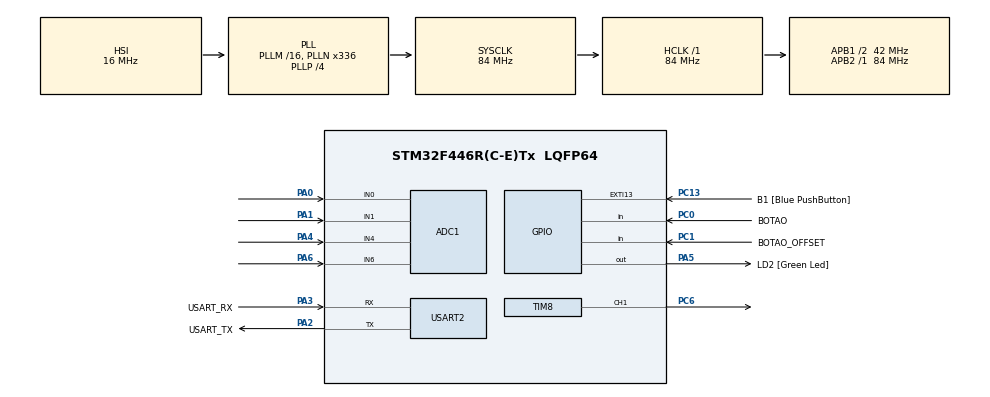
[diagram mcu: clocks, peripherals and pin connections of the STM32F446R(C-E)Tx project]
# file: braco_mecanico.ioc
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ADC1.Channel-0\#ChannelRegularConversion=ADC_CHANNEL_0
ADC1.Channel-1\#ChannelRegularConversion=ADC_CHANNEL_1
ADC1.Channel-2\#ChannelRegularConversion=ADC_CHANNEL_4
ADC1.Channel-3\#ChannelRegularConversion=ADC_CHANNEL_6
ADC1.ExternalTrigConv=ADC_EXTERNALTRIGCONV_T8_TRGO
ADC1.NbrOfConversion=4
ADC1.NbrOfConversionFlag=1
ADC1.Rank-0\#ChannelRegularConversion=1
ADC1.Rank-1\#ChannelRegularConversion=2
ADC1.Rank-2\#ChannelRegularConversion=3
ADC1.Rank-3\#ChannelRegularConversion=4
ADC1.SamplingTime-0\#ChannelRegularConversion=ADC_SAMPLETIME_15CYCLES
ADC1.SamplingTime-1\#ChannelRegularConversion=ADC_SAMPLETIME_15CYCLES
ADC1.SamplingTime-2\#ChannelRegularConversion=ADC_SAMPLETIME_15CYCLES
ADC1.SamplingTime-3\#ChannelRegularConversion=ADC_SAMPLETIME_15CYCLES
ADC1.master=1
Dma.ADC1.0.Direction=DMA_PERIPH_TO_MEMORY
Dma.ADC1.0.FIFOMode=DMA_FIFOMODE_DISABLE
Dma.ADC1.0.Instance=DMA2_Stream0
Dma.ADC1.0.MemDataAlignment=DMA_MDATAALIGN_HALFWORD
Dma.ADC1.0.MemInc=DMA_MINC_ENABLE
Dma.ADC1.0.Mode=DMA_NORMAL
Dma.ADC1.0.PeriphDataAlignment=DMA_PDATAALIGN_HALFWORD
Dma.ADC1.0.PeriphInc=DMA_PINC_DISABLE
Dma.ADC1.0.Priority=DMA_PRIORITY_LOW
Dma.Request0=ADC1
Mcu.Family=STM32F4
Mcu.Name=STM32F446R(C-E)Tx
Mcu.Package=LQFP64
NVIC.DMA2_Stream0_IRQn=true\:0\:0\:false\:false\:true\:false\:true\:true
NVIC.PriorityGroup=NVIC_PRIORITYGROUP_0
NVIC.TIM1_UP_TIM10_IRQn=true\:0\:0\:false\:false\:true\:true\:true\:true
NVIC.TIM8_CC_IRQn=true\:0\:0\:false\:false\:true\:true\:true\:true
NVIC.TIM8_UP_TIM13_IRQn=true\:0\:0\:false\:false\:true\:true\:true\:true
NVIC.USART2_IRQn=true\:0\:0\:false\:false\:true\:true\:true\:true
PA0-WKUP.Signal=ADCx_IN0
PA1.Signal=ADCx_IN1
PA13.GPIO_Label=TMS
PA13.Signal=SYS_JTMS-SWDIO
PA14.GPIO_Label=TCK
PA14.Signal=SYS_JTCK-SWCLK
PA2.GPIO_Label=USART_TX
PA2.Mode=Asynchronous
PA2.Signal=USART2_TX
PA3.GPIO_Label=USART_RX
PA3.Mode=Asynchronous
PA3.Signal=USART2_RX
PA4.Signal=ADCx_IN4
PA5.GPIO_Label=LD2 [Green Led]
PA5.Signal=GPIO_Output
PA6.Signal=ADCx_IN6
PB3.GPIO_Label=SWO
PB3.Signal=SYS_JTDO-SWO
PC0.GPIO_Label=BOTAO
PC0.GPIO_PuPd=GPIO_PULLUP
PC0.Signal=GPIO_Input
PC1.GPIO_Label=BOTAO_OFFSET
PC1.Signal=GPIO_Input
PC13.GPIO_Label=B1 [Blue PushButton]
PC13.GPIO_ModeDefaultEXTI=GPIO_MODE_IT_FALLING
PC13.Signal=GPXTI13
PC14-OSC32_IN.Signal=RCC_OSC32_IN
PC15-OSC32_OUT.Signal=RCC_OSC32_OUT
PC6.Signal=S_TIM8_CH1
PH0-OSC_IN.Signal=RCC_OSC_IN
PH1-OSC_OUT.Signal=RCC_OSC_OUT
ProjectManager.HeapSize=0x200
ProjectManager.StackSize=0x400
ProjectManager.TargetToolchain=STM32CubeIDE
RCC.AHBFreq_Value=84000000
RCC.APB1CLKDivider=RCC_HCLK_DIV2
RCC.APB1Freq_Value=42000000
RCC.APB1TimFreq_Value=84000000
RCC.APB2Freq_Value=84000000
RCC.APB2TimFreq_Value=84000000
RCC.CortexFreq_Value=84000000
RCC.FLatency-AdvancedSettings=FLASH_LATENCY_2
RCC.HCLKFreq_Value=84000000
RCC.HSE_VALUE=8000000
RCC.HSI_VALUE=16000000
RCC.LSE_VALUE=32768
RCC.PLLN=336
RCC.PLLP=RCC_PLLP_DIV4
RCC.SYSCLKFreq_VALUE=84000000
RCC.SYSCLKSource=RCC_SYSCLKSOURCE_PLLCLK
RCC.USBFreq_Value=168000000
RCC.VCOOutputFreq_Value=336000000
SH.ADCx_IN0.0=ADC1_IN0,IN0
SH.ADCx_IN1.0=ADC1_IN1,IN1
SH.ADCx_IN4.0=ADC1_IN4,IN4
SH.ADCx_IN6.0=ADC1_IN6,IN6
SH.S_TIM8_CH1.0=TIM8_CH1,Output Compare1 CH1
TIM10.Period=9999
TIM10.Prescaler=8399
TIM11.Period=839
TIM11.Prescaler=99
TIM8.Channel-Output\ Compare1\ CH1=TIM_CHANNEL_1
TIM8.OCMode_1=TIM_OCMODE_TOGGLE
TIM8.Period=839
TIM8.Prescaler=99
TIM8.Pulse-Output\ Compare1\ CH1=10
TIM8.TIM_MasterOutputTrigger=TIM_TRGO_UPDATE
USART2.VirtualMode=VM_ASYNC
VP_TIM10_VS_ClockSourceINT.Mode=Enable_Timer
VP_TIM11_VS_ClockSourceINT.Mode=Enable_Timer
VP_TIM8_VS_ClockSourceINT.Mode=Internal
board=NUCLEO-F446RE

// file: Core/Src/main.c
/* USER CODE BEGIN Header */
/**
  ******************************************************************************
  * @file           : main.c
  * @brief          : Main program body
  ******************************************************************************
  * @attention
  *
  * Copyright (c) 2024 STMicroelectronics.
  * All rights reserved.
  *
  * This software is licensed under terms that can be found in the LICENSE file
  * in the root directory of this software component.
  * If no LICENSE file comes with this software, it is provided AS-IS.
  *
  ******************************************************************************
  */
/* USER CODE END Header */
#include "main.h"

/* USER CODE BEGIN Includes */
#include "string.h"
#include "stdio.h"
#include "math.h"
/* USER CODE END Includes */

/* USER CODE BEGIN PTD */
#define N_AMOSTRAS 4
#define ADC_BIT_RESOLUTION 4095
#define POT_ANG_MAX 300
#define msgSIZE 500
#define ALTURA_PADRAO 9
/* USER CODE END PTD */

ADC_HandleTypeDef hadc1;
DMA_HandleTypeDef hdma_adc1;

TIM_HandleTypeDef htim8;
TIM_HandleTypeDef htim10;
TIM_HandleTypeDef htim11;

UART_HandleTypeDef huart2;

/* USER CODE BEGIN PV */
volatile uint16_t medidas[N_AMOSTRAS] ={0}; 				// valores do adc
const float segmentos[N_AMOSTRAS - 1] = {19.121, 15.032, 9.0175}; 	// Valores dos tamanhos de cada segmento do braço
uint16_t OFFSETS[4] = {0};

uint8_t soltou = 0; 											// variavel de debounce
char set_offset;

float coordenadas_xyz[3] = {0};								// variavel para salvar as coordenadas
float angulos_rad[N_AMOSTRAS] = {0}; 						// angulos em radianos
float angulos_graus[N_AMOSTRAS] = {0}; 						// angulos em graus

float r;
float z;
float x;
float y;

uint8_t msg[msgSIZE];
/* USER CODE END PV */

void SystemClock_Config(void);
static void MX_GPIO_Init(void);
static void MX_DMA_Init(void);
static void MX_ADC1_Init(void);
static void MX_USART2_UART_Init(void);
static void MX_TIM10_Init(void);
static void MX_TIM11_Init(void);
static void MX_TIM8_Init(void);

/* USER CODE BEGIN 0 */

// Calculo dos angulos em radianos e graus
void calc_ang(){
	for(int i = 0; i < N_AMOSTRAS; i++){
		angulos_graus[i] = ((medidas[i]-OFFSETS[i])*POT_ANG_MAX)/ADC_BIT_RESOLUTION; // Regra de três para saber o ang conforme a tensão medida do adc
		if(i != 0 && i != 3){
			angulos_graus[i] += angulos_graus[i-1];
		}
		angulos_rad[i] = angulos_graus[i]*(M_PI / 180.0); // Transformando para radianos
	}
}

// Distância Radial
float calc_r(){
	float r = 0;
	for(int i = 0; i < N_AMOSTRAS - 1; i++){
			r += (sin(angulos_rad[i])*segmentos[i]); // Calculo do cateto oposto a soma é o r + um offset
		}
	return r;
}

// Altura da ponta
float calc_z(){
	float z = 0;
	for(int i = 0; i < N_AMOSTRAS - 1; i++){
			z += (cos(angulos_rad[i])*segmentos[i]);  // Calculo do cateto adjacente a soma é o z + um offset
		}
	return z  + ALTURA_PADRAO;
}

// Altura da ponta
float calc_x(float distancia_radial){
	float x = 0;
	x = distancia_radial*cos(angulos_rad[3]);

	return x;
}

// Altura da ponta
float calc_y(float distancia_radial){
	float y = 0;
	y = distancia_radial*sin(angulos_rad[3]);

	return y;
}
/* USER CODE END 0 */

int main(void)
{

  /* MCU Configuration--------------------------------------------------------*/

  /* Reset of all peripherals, Initializes the Flash interface and the Systick. */
  HAL_Init();

  /* Configure the system clock */
  SystemClock_Config();

  /* Initialize all configured peripherals */
  MX_GPIO_Init();
  MX_DMA_Init();
  MX_ADC1_Init();
  MX_USART2_UART_Init();
  MX_TIM10_Init();
  MX_TIM11_Init();
  MX_TIM8_Init();
  /* USER CODE BEGIN 2 */
  HAL_ADC_Start_DMA(&hadc1, medidas, N_AMOSTRAS);
  HAL_TIM_Base_Start(&htim11); // Timer para debounce
  HAL_TIM_Base_Start_IT(&htim10); // Timer para envio de msg na serial
  HAL_TIM_OC_Start_IT(&htim8, TIM_CHANNEL_1); // Timer de freq sampling do adc

  strncpy(msg, "COORDENADAS X Y Z \n\r", msgSIZE); //Iniciando serial
  HAL_UART_Transmit_IT(&huart2, msg, strlen(msg));
  HAL_UART_Receive_IT(&huart2, &set_offset, 1);
  /* USER CODE END 2 */

  /* Infinite loop */
  /* USER CODE BEGIN WHILE */
  while (1)
  {
	  // Debounce
	  if(__HAL_TIM_GET_FLAG(&htim11, TIM_FLAG_UPDATE)){
		 __HAL_TIM_CLEAR_FLAG(&htim11, TIM_FLAG_UPDATE);

		 if(HAL_GPIO_ReadPin(BOTAO_GPIO_Port, BOTAO_Pin) == 0 && soltou == 0){
		  	soltou = 1;
		  	coordenadas_xyz[0] = x;
		  	coordenadas_xyz[1] = y;
		  	coordenadas_xyz[2] = z;
		  	snprintf(msg, msgSIZE, "{\"X\": %.2f, \"Y\": %.2f, \"Z\": %.2f,  \"guardar\": %i}\n",
		  			 coordenadas_xyz[0], coordenadas_xyz[1], coordenadas_xyz[2], soltou);
		  	HAL_UART_Transmit_IT(&huart2, msg, strlen(msg));
		 }
	  }

	  if(HAL_GPIO_ReadPin(BOTAO_GPIO_Port, BOTAO_Pin) == 1){
		  soltou = 0;

	  }

    /* USER CODE END WHILE */

  }
}

void SystemClock_Config(void)
{
  RCC_OscInitTypeDef RCC_OscInitStruct = {0};
  RCC_ClkInitTypeDef RCC_ClkInitStruct = {0};

  /** Configure the main internal regulator output voltage
  */
  __HAL_RCC_PWR_CLK_ENABLE();
  __HAL_PWR_VOLTAGESCALING_CONFIG(PWR_REGULATOR_VOLTAGE_SCALE3);

  /** Initializes the RCC Oscillators according to the specified parameters
  * in the RCC_OscInitTypeDef structure.
  */
  RCC_OscInitStruct.OscillatorType = RCC_OSCILLATORTYPE_HSI;
  RCC_OscInitStruct.HSIState = RCC_HSI_ON;
  RCC_OscInitStruct.HSICalibrationValue = RCC_HSICALIBRATION_DEFAULT;
  RCC_OscInitStruct.PLL.PLLState = RCC_PLL_ON;
  RCC_OscInitStruct.PLL.PLLSource = RCC_PLLSOURCE_HSI;
  RCC_OscInitStruct.PLL.PLLM = 16;
  RCC_OscInitStruct.PLL.PLLN = 336;
  RCC_OscInitStruct.PLL.PLLP = RCC_PLLP_DIV4;
  RCC_OscInitStruct.PLL.PLLQ = 2;
  RCC_OscInitStruct.PLL.PLLR = 2;
  if (HAL_RCC_OscConfig(&RCC_OscInitStruct) != HAL_OK)
  {
    Error_Handler();
  }

  /** Initializes the CPU, AHB and APB buses clocks
  */
  RCC_ClkInitStruct.ClockType = RCC_CLOCKTYPE_HCLK|RCC_CLOCKTYPE_SYSCLK
                              |RCC_CLOCKTYPE_PCLK1|RCC_CLOCKTYPE_PCLK2;
  RCC_ClkInitStruct.SYSCLKSource = RCC_SYSCLKSOURCE_PLLCLK;
  RCC_ClkInitStruct.AHBCLKDivider = RCC_SYSCLK_DIV1;
  RCC_ClkInitStruct.APB1CLKDivider = RCC_HCLK_DIV2;
  RCC_ClkInitStruct.APB2CLKDivider = RCC_HCLK_DIV1;

  if (HAL_RCC_ClockConfig(&RCC_ClkInitStruct, FLASH_LATENCY_2) != HAL_OK)
  {
    Error_Handler();
  }
}

static void MX_ADC1_Init(void)
{

  ADC_ChannelConfTypeDef sConfig = {0};

  /** Configure the global features of the ADC (Clock, Resolution, Data Alignment and number of conversion)
  */
  hadc1.Instance = ADC1;
  hadc1.Init.ClockPrescaler = ADC_CLOCK_SYNC_PCLK_DIV4;
  hadc1.Init.Resolution = ADC_RESOLUTION_12B;
  hadc1.Init.ScanConvMode = ENABLE;
  hadc1.Init.ContinuousConvMode = DISABLE;
  hadc1.Init.DiscontinuousConvMode = DISABLE;
  hadc1.Init.ExternalTrigConvEdge = ADC_EXTERNALTRIGCONVEDGE_RISING;
  hadc1.Init.ExternalTrigConv = ADC_EXTERNALTRIGCONV_T8_TRGO;
  hadc1.Init.DataAlign = ADC_DATAALIGN_RIGHT;
  hadc1.Init.NbrOfConversion = 4;
  hadc1.Init.DMAContinuousRequests = DISABLE;
  hadc1.Init.EOCSelection = ADC_EOC_SINGLE_CONV;
  if (HAL_ADC_Init(&hadc1) != HAL_OK)
  {
    Error_Handler();
  }

  /** Configure for the selected ADC regular channel its corresponding rank in the sequencer and its sample time.
  */
  sConfig.Channel = ADC_CHANNEL_0;
  sConfig.Rank = 1;
  sConfig.SamplingTime = ADC_SAMPLETIME_15CYCLES;
  if (HAL_ADC_ConfigChannel(&hadc1, &sConfig) != HAL_OK)
  {
    Error_Handler();
  }

  /** Configure for the selected ADC regular channel its corresponding rank in the sequencer and its sample time.
  */
  sConfig.Channel = ADC_CHANNEL_1;
  sConfig.Rank = 2;
  if (HAL_ADC_ConfigChannel(&hadc1, &sConfig) != HAL_OK)
  {
    Error_Handler();
  }

  /** Configure for the selected ADC regular channel its corresponding rank in the sequencer and its sample time.
  */
  sConfig.Channel = ADC_CHANNEL_4;
  sConfig.Rank = 3;
  if (HAL_ADC_ConfigChannel(&hadc1, &sConfig) != HAL_OK)
  {
    Error_Handler();
  }

  /** Configure for the selected ADC regular channel its corresponding rank in the sequencer and its sample time.
  */
  sConfig.Channel = ADC_CHANNEL_6;
  sConfig.Rank = 4;
  if (HAL_ADC_ConfigChannel(&hadc1, &sConfig) != HAL_OK)
  {
    Error_Handler();
  }

}

static void MX_TIM8_Init(void)
{

  TIM_ClockConfigTypeDef sClockSourceConfig = {0};
  TIM_MasterConfigTypeDef sMasterConfig = {0};
  TIM_OC_InitTypeDef sConfigOC = {0};
  TIM_BreakDeadTimeConfigTypeDef sBreakDeadTimeConfig = {0};

  htim8.Instance = TIM8;
  htim8.Init.Prescaler = 99;
  htim8.Init.CounterMode = TIM_COUNTERMODE_UP;
  htim8.Init.Period = 839;
  htim8.Init.ClockDivision = TIM_CLOCKDIVISION_DIV1;
  htim8.Init.RepetitionCounter = 0;
  htim8.Init.AutoReloadPreload = TIM_AUTORELOAD_PRELOAD_DISABLE;
  if (HAL_TIM_Base_Init(&htim8) != HAL_OK)
  {
    Error_Handler();
  }
  sClockSourceConfig.ClockSource = TIM_CLOCKSOURCE_INTERNAL;
  if (HAL_TIM_ConfigClockSource(&htim8, &sClockSourceConfig) != HAL_OK)
  {
    Error_Handler();
  }
  if (HAL_TIM_OC_Init(&htim8) != HAL_OK)
  {
    Error_Handler();
  }
  sMasterConfig.MasterOutputTrigger = TIM_TRGO_UPDATE;
  sMasterConfig.MasterSlaveMode = TIM_MASTERSLAVEMODE_DISABLE;
  if (HAL_TIMEx_MasterConfigSynchronization(&htim8, &sMasterConfig) != HAL_OK)
  {
    Error_Handler();
  }
  sConfigOC.OCMode = TIM_OCMODE_TOGGLE;
  sConfigOC.Pulse = 10;
  sConfigOC.OCPolarity = TIM_OCPOLARITY_HIGH;
  sConfigOC.OCNPolarity = TIM_OCNPOLARITY_HIGH;
  sConfigOC.OCFastMode = TIM_OCFAST_DISABLE;
  sConfigOC.OCIdleState = TIM_OCIDLESTATE_RESET;
  sConfigOC.OCNIdleState = TIM_OCNIDLESTATE_RESET;
  if (HAL_TIM_OC_ConfigChannel(&htim8, &sConfigOC, TIM_CHANNEL_1) != HAL_OK)
  {
    Error_Handler();
  }
  sBreakDeadTimeConfig.OffStateRunMode = TIM_OSSR_DISABLE;
  sBreakDeadTimeConfig.OffStateIDLEMode = TIM_OSSI_DISABLE;
  sBreakDeadTimeConfig.LockLevel = TIM_LOCKLEVEL_OFF;
  sBreakDeadTimeConfig.DeadTime = 0;
  sBreakDeadTimeConfig.BreakState = TIM_BREAK_DISABLE;
  sBreakDeadTimeConfig.BreakPolarity = TIM_BREAKPOLARITY_HIGH;
  sBreakDeadTimeConfig.AutomaticOutput = TIM_AUTOMATICOUTPUT_DISABLE;
  if (HAL_TIMEx_ConfigBreakDeadTime(&htim8, &sBreakDeadTimeConfig) != HAL_OK)
  {
    Error_Handler();
  }
  HAL_TIM_MspPostInit(&htim8);

}

static void MX_TIM10_Init(void)
{

  htim10.Instance = TIM10;
  htim10.Init.Prescaler = 8399;
  htim10.Init.CounterMode = TIM_COUNTERMODE_UP;
  htim10.Init.Period = 9999;
  htim10.Init.ClockDivision = TIM_CLOCKDIVISION_DIV1;
  htim10.Init.AutoReloadPreload = TIM_AUTORELOAD_PRELOAD_DISABLE;
  if (HAL_TIM_Base_Init(&htim10) != HAL_OK)
  {
    Error_Handler();
  }

}

static void MX_TIM11_Init(void)
{

  htim11.Instance = TIM11;
  htim11.Init.Prescaler = 99;
  htim11.Init.CounterMode = TIM_COUNTERMODE_UP;
  htim11.Init.Period = 839;
  htim11.Init.ClockDivision = TIM_CLOCKDIVISION_DIV1;
  htim11.Init.AutoReloadPreload = TIM_AUTORELOAD_PRELOAD_DISABLE;
  if (HAL_TIM_Base_Init(&htim11) != HAL_OK)
  {
    Error_Handler();
  }

}

static void MX_USART2_UART_Init(void)
{

  huart2.Instance = USART2;
  huart2.Init.BaudRate = 115200;
  huart2.Init.WordLength = UART_WORDLENGTH_8B;
  huart2.Init.StopBits = UART_STOPBITS_1;
  huart2.Init.Parity = UART_PARITY_NONE;
  huart2.Init.Mode = UART_MODE_TX_RX;
  huart2.Init.HwFlowCtl = UART_HWCONTROL_NONE;
  huart2.Init.OverSampling = UART_OVERSAMPLING_16;
  if (HAL_UART_Init(&huart2) != HAL_OK)
  {
    Error_Handler();
  }

}

static void MX_DMA_Init(void)
{

  /* DMA controller clock enable */
  __HAL_RCC_DMA2_CLK_ENABLE();

  /* DMA interrupt init */
  /* DMA2_Stream0_IRQn interrupt configuration */
  HAL_NVIC_SetPriority(DMA2_Stream0_IRQn, 0, 0);
  HAL_NVIC_EnableIRQ(DMA2_Stream0_IRQn);

}

static void MX_GPIO_Init(void)
{
  GPIO_InitTypeDef GPIO_InitStruct = {0};

  /* GPIO Ports Clock Enable */
  __HAL_RCC_GPIOC_CLK_ENABLE();
  __HAL_RCC_GPIOH_CLK_ENABLE();
  __HAL_RCC_GPIOA_CLK_ENABLE();
  __HAL_RCC_GPIOB_CLK_ENABLE();

  /*Configure GPIO pin Output Level */
  HAL_GPIO_WritePin(LD2_GPIO_Port, LD2_Pin, GPIO_PIN_RESET);

  /*Configure GPIO pin : B1_Pin */
  GPIO_InitStruct.Pin = B1_Pin;
  GPIO_InitStruct.Mode = GPIO_MODE_IT_FALLING;
  GPIO_InitStruct.Pull = GPIO_NOPULL;
  HAL_GPIO_Init(B1_GPIO_Port, &GPIO_InitStruct);

  /*Configure GPIO pins : BOTAO_Pin BOTAO_OFFSET_Pin */
  GPIO_InitStruct.Pin = BOTAO_Pin|BOTAO_OFFSET_Pin;
  GPIO_InitStruct.Mode = GPIO_MODE_INPUT;
<<<<<<< HEAD
  GPIO_InitStruct.Pull = GPIO_PULLUP;
  HAL_GPIO_Init(BOTAO_GPIO_Port, &GPIO_InitStruct);
=======
  GPIO_InitStruct.Pull = GPIO_NOPULL;
  HAL_GPIO_Init(GPIOC, &GPIO_InitStruct);
>>>>>>> ef0d341697957f8628c074acbc12bb9a12bbe146

  /*Configure GPIO pin : BOTAO_OFFSET_Pin */
  GPIO_InitStruct.Pin = BOTAO_OFFSET_Pin;
  GPIO_InitStruct.Mode = GPIO_MODE_INPUT;
  GPIO_InitStruct.Pull = GPIO_NOPULL;
  HAL_GPIO_Init(BOTAO_OFFSET_GPIO_Port, &GPIO_InitStruct);

  /*Configure GPIO pin : LD2_Pin */
  GPIO_InitStruct.Pin = LD2_Pin;
  GPIO_InitStruct.Mode = GPIO_MODE_OUTPUT_PP;
  GPIO_InitStruct.Pull = GPIO_NOPULL;
  GPIO_InitStruct.Speed = GPIO_SPEED_FREQ_LOW;
  HAL_GPIO_Init(LD2_GPIO_Port, &GPIO_InitStruct);

}

/* USER CODE BEGIN 4 */

void HAL_TIM_PeriodElapsedCallback(TIM_HandleTypeDef *htim)
{
	if (htim->Instance==TIM10)
	{
		snprintf(msg, msgSIZE, "{\"x\": %.2f ,\"y\": %.2f, \"z\": %.2f, \"angulo1\": %.2f, \"angulo2\": %.2f, \"angulo3\": %.2f, \"angulo4\": %.2f}\n",
				x, y, z, angulos_graus[0], angulos_graus[1] - angulos_graus[0], angulos_graus[2] - angulos_graus[1], angulos_graus[3]);
		HAL_UART_Transmit_IT(&huart2, msg, strlen(msg));
	}
}

void HAL_UART_RxCpltCallback(UART_HandleTypeDef *huart)
{
	for(int u = 0; u < N_AMOSTRAS; u++){
		OFFSETS[u] = medidas[u];
	}
	HAL_UART_Receive_IT(&huart2, set_offset ,1);
}
<<<<<<< HEAD

void HAL_ADC_ConvCpltCallback(ADC_HandleTypeDef* hadc){

	calc_ang();

=======

void HAL_ADC_ConvCpltCallback(ADC_HandleTypeDef* hadc){

	calc_ang();

>>>>>>> ef0d341697957f8628c074acbc12bb9a12bbe146
	r = calc_r(); // Distancia radial
	z = calc_z();
	x = calc_x(r);
	y = calc_y(r);

	//snprintf(msg, msgSIZE, "{\"x\": %.2f ,\"y\": %.2f, \"z\": %.2f, \"angulo1\": %i, \"angulo2\": %.2f, \"angulo3\": %.2f, \"angulo4\": %.2f}\n",x, y, z, angulos_graus[0], angulos_graus[1], angulos_graus[2], angulos_graus[3]);
	HAL_ADC_Start_DMA(&hadc1, medidas, N_AMOSTRAS);

}
/* USER CODE END 4 */

void Error_Handler(void)
{
  __disable_irq();
  while (1)
  {
  }
}
